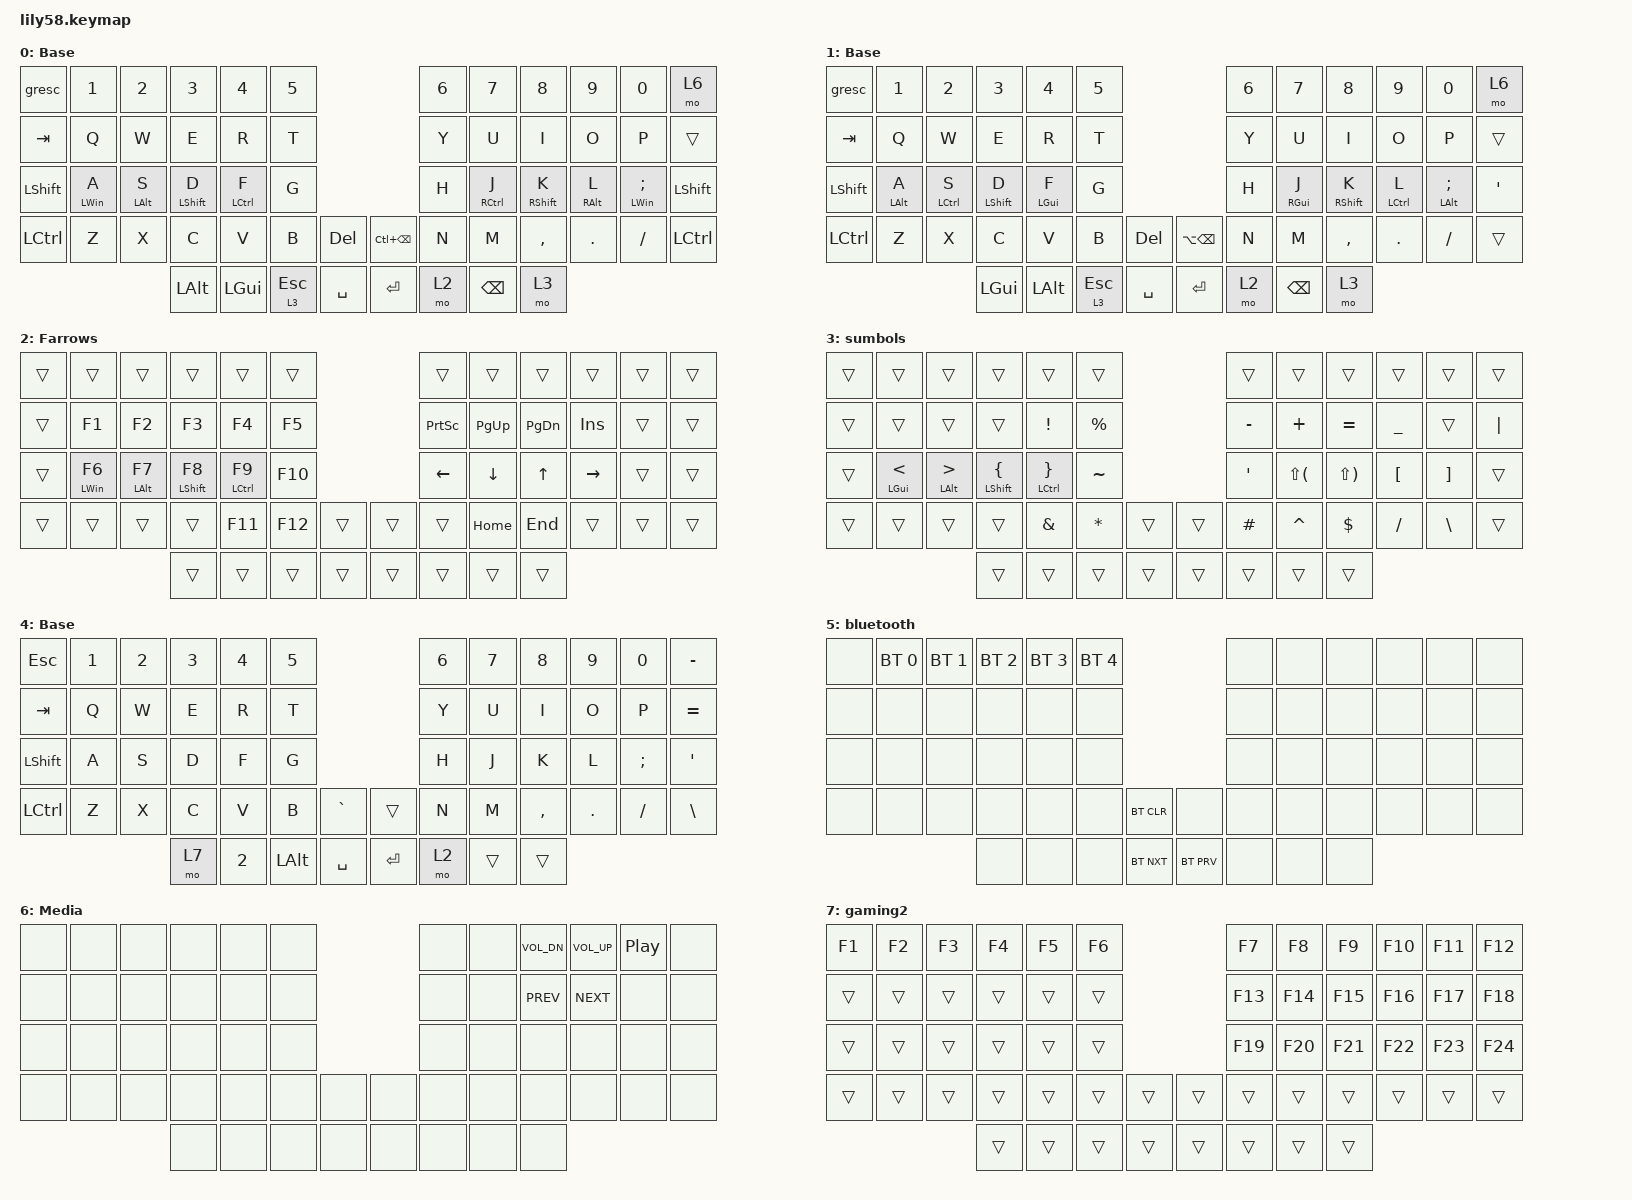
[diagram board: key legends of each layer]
/*
 * Copyright (c) 2020 The ZMK Contributors
 *
 * SPDX-License-Identifier: MIT
 */

#include <behaviors.dtsi>
#include <dt-bindings/zmk/bt.h>
#include <dt-bindings/zmk/keys.h>

&mt { flavor = "balanced"; };

/ {
    combos {
        compatible = "zmk,combos";

        game_mode {
            bindings = <&tog 4>;
            key-positions = <5 6>;
        };

        blt_mode {
            bindings = <&tog 5>;
            key-positions = <11 23>;
        };

        caps {
            bindings = <&caps_word>;
            key-positions = <27 53>;
            layers = <0 1>;
        };

        mac_mode {
            bindings = <&tog 1>;
            key-positions = <43 42 53 54>;
        };

        minecraft_pause {
            bindings = <&minecraft_pause>;
            key-positions = <3 22>;
        };
    };

    macros {
        minecraft_pause: minecraft_pause {
            compatible = "zmk,behavior-macro";
            #binding-cells = <0>;
            bindings = <&kp F3 &kp P>;
            label = "MINECRAFT_PAUSE";
        };
    };

    keymap {
        compatible = "zmk,keymap";

        default_layer {
            // ------------------------------------------------------------------------------------------------------------
            // |  ESC  |  1  |  2  |  3   |  4   |  5   |                   |  6   |  7    |  8    |  9   |   0   |   `   |
            // |  TAB  |  Q  |  W  |  E   |  R   |  T   |                   |  Y   |  U    |  I    |  O   |   P   |   -   |
            // |  CTRL |  A  |  S  |  D   |  F   |  G   |                   |  H   |  J    |  K    |  L   |   ;   |   '   |
            // | SHIFT |  Z  |  X  |  C   |  V   |  B   |   "["  |  |  "]"  |  N   |  M    |  ,    |  .   |   /   | SHIFT |
            //                     | ALT  | GUI  | LOWER|  SPACE |  | ENTER | RAISE| BSPC  | GUI   |

            display-name = "Base";
            bindings = <
&gresc          &kp N1          &kp N2          &kp N3            &kp N4       &kp N5                                     &kp N6  &kp N7         &kp N8             &kp N9           &kp N0                  &mo 6
&kp TAB         &kp Q           &kp W           &kp E             &kp R        &kp T                                      &kp Y   &kp U          &kp I              &kp O            &kp P                   &trans
&kp LEFT_SHIFT  &mt LEFT_WIN A  &mt LEFT_ALT S  &mt LEFT_SHIFT D  &mt LCTRL F  &kp G                                      &kp H   &mt RCTRL J    &mt RIGHT_SHIFT K  &mt RIGHT_ALT L  &mt LEFT_WIN SEMICOLON  &kp LEFT_SHIFT
&kp LCTRL       &kp Z           &kp X           &kp C             &kp V        &kp B      &kp DEL      &kp LC(BACKSPACE)  &kp N   &kp M          &kp COMMA          &kp DOT          &kp FSLH                &kp LEFT_CONTROL
                                                &kp LEFT_ALT      &kp LGUI     &lt 3 ESC  &kp SPACE    &kp RET            &mo 2   &kp BACKSPACE  &mo 3
            >;
        };

        macos {
            display-name = "Base";
            bindings = <
&gresc          &kp N1          &kp N2              &kp N3            &kp N4          &kp N5                                     &kp N6  &kp N7           &kp N8             &kp N9              &kp N0                  &mo 6
&kp TAB         &kp Q           &kp W               &kp E             &kp R           &kp T                                      &kp Y   &kp U            &kp I              &kp O               &kp P                   &trans
&kp LEFT_SHIFT  &mt LEFT_ALT A  &mt LEFT_CONTROL S  &mt LEFT_SHIFT D  &mt LEFT_GUI F  &kp G                                      &kp H   &mt RIGHT_GUI J  &mt RIGHT_SHIFT K  &mt LEFT_CONTROL L  &mt LEFT_ALT SEMICOLON  &kp SQT
&kp LCTRL       &kp Z           &kp X               &kp C             &kp V           &kp B      &kp DEL      &kp LA(BACKSPACE)  &kp N   &kp M            &kp COMMA          &kp DOT             &kp FSLH                &trans
                                                    &kp LEFT_GUI      &kp LEFT_ALT    &lt 3 ESC  &kp SPACE    &kp RET            &mo 2   &kp BACKSPACE    &mo 3
            >;
        };

        Farrows {
            bindings = <
&trans  &trans           &trans           &trans             &trans        &trans                     &trans           &trans     &trans         &trans      &trans  &trans
&trans  &kp F1           &kp F2           &kp F3             &kp F4        &kp F5                     &kp PRINTSCREEN  &kp PG_UP  &kp PAGE_DOWN  &kp INSERT  &trans  &trans
&trans  &mt LEFT_WIN F6  &mt LEFT_ALT F7  &mt LEFT_SHIFT F8  &mt LCTRL F9  &kp F10                    &kp LEFT         &kp DOWN   &kp UP         &kp RIGHT   &trans  &trans
&trans  &trans           &trans           &trans             &kp F11       &kp F12  &trans    &trans  &trans           &kp HOME   &kp END        &trans      &trans  &trans
                                          &trans             &trans        &trans   &trans    &trans  &trans           &trans     &trans
            >;
        };

        sumbols {
            bindings = <
&trans  &trans                  &trans                     &trans               &trans           &trans                          &trans            &trans        &trans        &trans          &trans         &trans
&trans  &trans                  &trans                     &trans               &kp EXCLAMATION  &kp PERCENT                     &kp MINUS         &kp PLUS      &kp EQUAL     &kp UNDERSCORE  &trans         &kp PIPE
&trans  &mt LEFT_GUI LESS_THAN  &mt LEFT_ALT GREATER_THAN  &mt LEFT_SHIFT LBRC  &mt LCTRL RBRC   &kp TILDE                       &kp SINGLE_QUOTE  &kp LS(LPAR)  &kp LS(RPAR)  &kp LBKT        &kp RBKT       &trans
&trans  &trans                  &trans                     &trans               &kp AMPERSAND    &kp ASTERISK  &trans    &trans  &kp HASH          &kp CARET     &kp DLLR      &kp SLASH       &kp BACKSLASH  &trans
                                                           &trans               &trans           &trans        &trans    &trans  &trans            &trans        &trans
            >;
        };

        gaming {
            display-name = "Base";
            bindings = <
&kp ESC           &kp N1  &kp N2  &kp N3  &kp N4        &kp N5                              &kp N6  &kp N7  &kp N8     &kp N9   &kp N0    &kp MINUS
&kp TAB           &kp Q   &kp W   &kp E   &kp R         &kp T                               &kp Y   &kp U   &kp I      &kp O    &kp P     &kp EQUAL
&kp LEFT_SHIFT    &kp A   &kp S   &kp D   &kp F         &kp G                               &kp H   &kp J   &kp K      &kp L    &kp SEMI  &kp SQT
&kp LEFT_CONTROL  &kp Z   &kp X   &kp C   &kp V         &kp B         &kp GRAVE    &trans   &kp N   &kp M   &kp COMMA  &kp DOT  &kp FSLH  &kp BSLH
                                  &mo 7   &kp NUMBER_2  &kp LEFT_ALT  &kp SPACE    &kp RET  &mo 2   &trans  &trans
            >;
        };

        bluetooth {
            bindings = <
&none  &bt BT_SEL 0  &bt BT_SEL 1  &bt BT_SEL 2  &bt BT_SEL 3  &bt BT_SEL 4                            &none  &none  &none  &none  &none  &none
&none  &none         &none         &none         &none         &none                                   &none  &none  &none  &none  &none  &none
&none  &none         &none         &none         &none         &none                                   &none  &none  &none  &none  &none  &none
&none  &none         &none         &none         &none         &none         &bt BT_CLR    &none       &none  &none  &none  &none  &none  &none
                                   &none         &none         &none         &bt BT_NXT    &bt BT_PRV  &none  &none  &none
            >;
        };

        media {
            display-name = "Media";
            bindings = <
&none  &none  &none  &none  &none  &none                  &none  &none  &kp C_VOL_DN  &kp C_VOL_UP  &kp C_PP  &none
&none  &none  &none  &none  &none  &none                  &none  &none  &kp C_PREV    &kp C_NEXT    &none     &none
&none  &none  &none  &none  &none  &none                  &none  &none  &none         &none         &none     &none
&none  &none  &none  &none  &none  &none  &none    &none  &none  &none  &none         &none         &none     &none
                     &none  &none  &none  &none    &none  &none  &none  &none
            >;
        };

        gaming2 {
            bindings = <
&kp F1  &kp F2  &kp F3  &kp F4  &kp F5  &kp F6                    &kp F7   &kp F8   &kp F9   &kp F10  &kp F11  &kp F12
&trans  &trans  &trans  &trans  &trans  &trans                    &kp F13  &kp F14  &kp F15  &kp F16  &kp F17  &kp F18
&trans  &trans  &trans  &trans  &trans  &trans                    &kp F19  &kp F20  &kp F21  &kp F22  &kp F23  &kp F24
&trans  &trans  &trans  &trans  &trans  &trans  &trans    &trans  &trans   &trans   &trans   &trans   &trans   &trans
                        &trans  &trans  &trans  &trans    &trans  &trans   &trans   &trans
            >;
        };
    };
};
